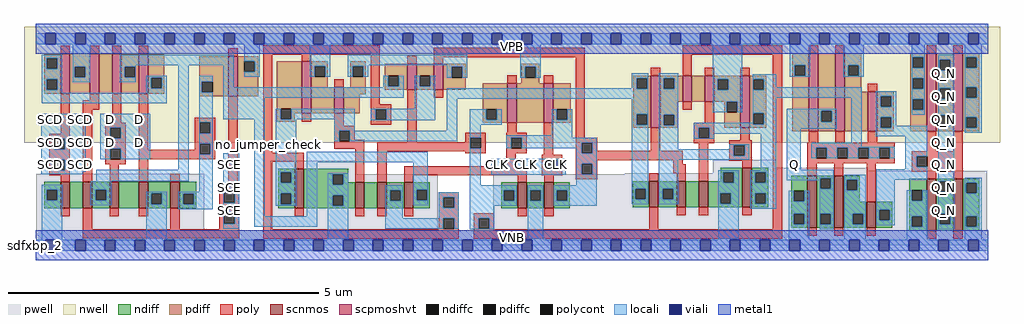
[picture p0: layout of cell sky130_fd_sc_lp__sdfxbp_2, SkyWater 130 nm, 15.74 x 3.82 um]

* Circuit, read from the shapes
.subckt sky130_fd_sc_lp__sdfxbp_2 CLK D SCD SCE VGND VNB VPB VPWR Q Q_N
XM1 n1 SCD VGND VNB sky130_fd_pr__nfet_01v8 w=0.42 l=0.15
XM2 n2 SCE n1 VNB sky130_fd_pr__nfet_01v8 w=0.42 l=0.15
XM3 n3 D n2 VNB sky130_fd_pr__nfet_01v8 w=0.42 l=0.15
XM4 VGND n4 n3 VNB sky130_fd_pr__nfet_01v8 w=0.42 l=0.15
XM5 n4 SCE VGND VNB sky130_fd_pr__nfet_01v8 w=0.42 l=0.15
XM6 VGND n5 n6 VNB sky130_fd_pr__nfet_01v8 w=0.64 l=0.15
XM7 n7 n6 VGND VNB sky130_fd_pr__nfet_01v8 w=0.42 l=0.15
XM8 n5 n8 n7 VNB sky130_fd_pr__nfet_01v8 w=0.42 l=0.15
XM9 n2 n9 n5 VNB sky130_fd_pr__nfet_01v8 w=0.42 l=0.15
XM10 VGND n9 n8 VNB sky130_fd_pr__nfet_01v8 w=0.42 l=0.15
XM11 n9 CLK VGND VNB sky130_fd_pr__nfet_01v8 w=0.42 l=0.15
XM12 n10 n8 n6 VNB sky130_fd_pr__nfet_01v8 w=0.42 l=0.15
XM13 n11 n9 n10 VNB sky130_fd_pr__nfet_01v8 w=0.42 l=0.15
XM14 VGND n12 n11 VNB sky130_fd_pr__nfet_01v8 w=0.42 l=0.15
XM15 n12 n10 VGND VNB sky130_fd_pr__nfet_01v8 w=0.64 l=0.15
XM16 Q n12 VGND VNB sky130_fd_pr__nfet_01v8 w=0.84 l=0.15 m=2
XM17 n13 n12 VGND VNB sky130_fd_pr__nfet_01v8 w=0.42 l=0.15
XM18 Q_N n13 VGND VNB sky130_fd_pr__nfet_01v8 w=0.84 l=0.15 m=2
XM19 VPWR SCD n14 VPB sky130_fd_pr__pfet_01v8_hvt w=0.64 l=0.15
XM20 n15 SCE VPWR VPB sky130_fd_pr__pfet_01v8_hvt w=0.64 l=0.15
XM21 n2 D n15 VPB sky130_fd_pr__pfet_01v8_hvt w=0.64 l=0.15
XM22 n14 n4 n2 VPB sky130_fd_pr__pfet_01v8_hvt w=0.64 l=0.15
XM23 VPWR SCE n4 VPB sky130_fd_pr__pfet_01v8_hvt w=0.64 l=0.15
XM24 VPWR n5 n6 VPB sky130_fd_pr__pfet_01v8_hvt w=0.84 l=0.15
XM25 n16 n6 VPWR VPB sky130_fd_pr__pfet_01v8_hvt w=0.42 l=0.15
XM26 n5 n8 n2 VPB sky130_fd_pr__pfet_01v8_hvt w=0.42 l=0.15
XM27 n16 n9 n5 VPB sky130_fd_pr__pfet_01v8_hvt w=0.42 l=0.15
XM28 VPWR n9 n8 VPB sky130_fd_pr__pfet_01v8_hvt w=0.64 l=0.15
XM29 n9 CLK VPWR VPB sky130_fd_pr__pfet_01v8_hvt w=0.64 l=0.15
XM30 n10 n9 n6 VPB sky130_fd_pr__pfet_01v8_hvt w=0.84 l=0.15
XM31 n17 n8 n10 VPB sky130_fd_pr__pfet_01v8_hvt w=0.42 l=0.15
XM32 VPWR n12 n17 VPB sky130_fd_pr__pfet_01v8_hvt w=0.42 l=0.15
XM33 n12 n10 VPWR VPB sky130_fd_pr__pfet_01v8_hvt w=0.84 l=0.15
XM34 Q n12 VPWR VPB sky130_fd_pr__pfet_01v8_hvt w=1.26 l=0.15 m=2
XM35 n13 n12 VPWR VPB sky130_fd_pr__pfet_01v8_hvt w=0.64 l=0.15
XM36 Q_N n13 VPWR VPB sky130_fd_pr__pfet_01v8_hvt w=1.26 l=0.15 m=2
.ends

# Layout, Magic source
magic
tech sky130A
magscale 1 2
<< nwell >>
rect -38 331 3110 704
<< pwell >>
rect 1 49 543 230
rect 756 229 1034 273
rect 2184 250 2388 276
rect 2184 241 2684 250
rect 2184 232 3069 241
rect 1899 229 3069 232
rect 756 49 1297 229
rect 1475 49 3069 229
rect 0 0 3072 49
<< scnmos >>
rect 80 120 110 204
rect 152 120 182 204
rect 238 120 268 204
rect 332 120 362 204
rect 434 120 464 204
rect 835 119 865 247
rect 1030 119 1060 203
rect 1102 119 1132 203
rect 1188 119 1218 203
rect 1554 119 1584 203
rect 1640 119 1670 203
rect 1978 122 2008 206
rect 2067 122 2097 206
rect 2139 122 2169 206
rect 2279 122 2309 250
rect 2489 56 2519 224
rect 2575 56 2605 224
rect 2680 56 2710 140
rect 2874 47 2904 215
rect 2960 47 2990 215
<< scpmoshvt >>
rect 80 489 110 617
rect 174 489 204 617
rect 246 489 276 617
rect 332 489 362 617
rect 621 481 651 609
rect 858 425 888 593
rect 963 425 993 509
rect 1198 501 1228 585
rect 1284 501 1314 585
rect 1521 395 1551 523
rect 1639 395 1669 523
rect 1984 379 2014 547
rect 2086 463 2116 547
rect 2158 463 2188 547
rect 2273 379 2303 547
rect 2493 367 2523 619
rect 2579 367 2609 619
rect 2684 367 2714 495
rect 2874 367 2904 619
rect 2960 367 2990 619
<< ndiff >>
rect 27 179 80 204
rect 27 145 35 179
rect 69 145 80 179
rect 27 120 80 145
rect 110 120 152 204
rect 182 179 238 204
rect 182 145 193 179
rect 227 145 238 179
rect 182 120 238 145
rect 268 120 332 204
rect 362 167 434 204
rect 362 133 373 167
rect 407 133 434 167
rect 362 120 434 133
rect 464 166 517 204
rect 464 132 475 166
rect 509 132 517 166
rect 464 120 517 132
rect 782 235 835 247
rect 782 201 790 235
rect 824 201 835 235
rect 782 167 835 201
rect 782 133 790 167
rect 824 133 835 167
rect 782 119 835 133
rect 865 229 1008 247
rect 865 195 958 229
rect 992 203 1008 229
rect 2210 236 2279 250
rect 2210 206 2218 236
rect 992 195 1030 203
rect 865 161 1030 195
rect 865 127 958 161
rect 992 127 1030 161
rect 865 119 1030 127
rect 1060 119 1102 203
rect 1132 177 1188 203
rect 1132 143 1143 177
rect 1177 143 1188 177
rect 1132 119 1188 143
rect 1218 179 1271 203
rect 1218 145 1229 179
rect 1263 145 1271 179
rect 1501 178 1554 203
rect 1218 119 1271 145
rect 1501 144 1509 178
rect 1543 144 1554 178
rect 1501 119 1554 144
rect 1584 178 1640 203
rect 1584 144 1595 178
rect 1629 144 1640 178
rect 1584 119 1640 144
rect 1670 178 1723 203
rect 1670 144 1681 178
rect 1715 144 1723 178
rect 1670 119 1723 144
rect 1925 182 1978 206
rect 1925 148 1933 182
rect 1967 148 1978 182
rect 1925 122 1978 148
rect 2008 182 2067 206
rect 2008 148 2022 182
rect 2056 148 2067 182
rect 2008 122 2067 148
rect 2097 122 2139 206
rect 2169 202 2218 206
rect 2252 202 2279 236
rect 2169 168 2279 202
rect 2169 134 2207 168
rect 2241 134 2279 168
rect 2169 122 2279 134
rect 2309 236 2362 250
rect 2309 202 2320 236
rect 2354 202 2362 236
rect 2309 168 2362 202
rect 2309 134 2320 168
rect 2354 134 2362 168
rect 2309 122 2362 134
rect 2436 176 2489 224
rect 2436 142 2444 176
rect 2478 142 2489 176
rect 2436 102 2489 142
rect 2436 68 2444 102
rect 2478 68 2489 102
rect 2436 56 2489 68
rect 2519 216 2575 224
rect 2519 182 2530 216
rect 2564 182 2575 216
rect 2519 102 2575 182
rect 2519 68 2530 102
rect 2564 68 2575 102
rect 2519 56 2575 68
rect 2605 212 2658 224
rect 2605 178 2616 212
rect 2650 178 2658 212
rect 2605 140 2658 178
rect 2817 177 2874 215
rect 2817 143 2825 177
rect 2859 143 2874 177
rect 2605 102 2680 140
rect 2605 68 2635 102
rect 2669 68 2680 102
rect 2605 56 2680 68
rect 2710 115 2763 140
rect 2710 81 2721 115
rect 2755 81 2763 115
rect 2710 56 2763 81
rect 2817 93 2874 143
rect 2817 59 2825 93
rect 2859 59 2874 93
rect 2817 47 2874 59
rect 2904 207 2960 215
rect 2904 173 2915 207
rect 2949 173 2960 207
rect 2904 101 2960 173
rect 2904 67 2915 101
rect 2949 67 2960 101
rect 2904 47 2960 67
rect 2990 202 3043 215
rect 2990 168 3001 202
rect 3035 168 3043 202
rect 2990 93 3043 168
rect 2990 59 3001 93
rect 3035 59 3043 93
rect 2990 47 3043 59
<< pdiff >>
rect 27 603 80 617
rect 27 569 35 603
rect 69 569 80 603
rect 27 535 80 569
rect 27 501 35 535
rect 69 501 80 535
rect 27 489 80 501
rect 110 576 174 617
rect 110 542 125 576
rect 159 542 174 576
rect 110 489 174 542
rect 204 489 246 617
rect 276 576 332 617
rect 276 542 287 576
rect 321 542 332 576
rect 276 489 332 542
rect 362 540 415 617
rect 362 506 373 540
rect 407 506 415 540
rect 362 489 415 506
rect 528 527 621 609
rect 528 493 536 527
rect 570 493 621 527
rect 528 481 621 493
rect 651 593 718 609
rect 651 559 672 593
rect 706 559 718 593
rect 651 481 718 559
rect 778 441 858 593
rect 778 407 790 441
rect 824 425 858 441
rect 888 577 941 593
rect 888 543 899 577
rect 933 543 941 577
rect 888 509 941 543
rect 1015 577 1065 593
rect 1015 543 1023 577
rect 1057 543 1065 577
rect 1015 509 1065 543
rect 888 425 963 509
rect 993 487 1065 509
rect 993 425 1045 487
rect 1125 547 1198 585
rect 1125 513 1137 547
rect 1171 513 1198 547
rect 1125 501 1198 513
rect 1228 547 1284 585
rect 1228 513 1239 547
rect 1273 513 1284 547
rect 1228 501 1284 513
rect 1314 575 1387 585
rect 1314 541 1341 575
rect 1375 541 1387 575
rect 1566 575 1624 585
rect 1314 501 1387 541
rect 1566 541 1578 575
rect 1612 541 1624 575
rect 1566 523 1624 541
rect 824 407 836 425
rect 778 399 836 407
rect 1441 439 1521 523
rect 1441 405 1453 439
rect 1487 405 1521 439
rect 1441 395 1521 405
rect 1551 395 1639 523
rect 1669 439 1726 523
rect 1669 405 1680 439
rect 1714 405 1726 439
rect 1669 395 1726 405
rect 1927 539 1984 547
rect 1927 505 1939 539
rect 1973 505 1984 539
rect 1927 423 1984 505
rect 1927 389 1939 423
rect 1973 389 1984 423
rect 1927 379 1984 389
rect 2014 539 2086 547
rect 2014 505 2025 539
rect 2059 505 2086 539
rect 2014 463 2086 505
rect 2116 463 2158 547
rect 2188 535 2273 547
rect 2188 501 2199 535
rect 2233 501 2273 535
rect 2188 463 2273 501
rect 2014 421 2071 463
rect 2014 387 2025 421
rect 2059 387 2071 421
rect 2014 379 2071 387
rect 2220 429 2228 463
rect 2262 429 2273 463
rect 2220 379 2273 429
rect 2303 535 2356 547
rect 2303 501 2314 535
rect 2348 501 2356 535
rect 2303 425 2356 501
rect 2303 391 2314 425
rect 2348 391 2356 425
rect 2303 379 2356 391
rect 2440 581 2493 619
rect 2440 547 2448 581
rect 2482 547 2493 581
rect 2440 367 2493 547
rect 2523 433 2579 619
rect 2523 399 2534 433
rect 2568 399 2579 433
rect 2523 367 2579 399
rect 2609 581 2662 619
rect 2609 547 2620 581
rect 2654 547 2662 581
rect 2609 495 2662 547
rect 2821 607 2874 619
rect 2821 573 2829 607
rect 2863 573 2874 607
rect 2821 539 2874 573
rect 2821 505 2829 539
rect 2863 505 2874 539
rect 2609 367 2684 495
rect 2714 481 2767 495
rect 2714 447 2725 481
rect 2759 447 2767 481
rect 2714 413 2767 447
rect 2714 379 2725 413
rect 2759 379 2767 413
rect 2714 367 2767 379
rect 2821 471 2874 505
rect 2821 437 2829 471
rect 2863 437 2874 471
rect 2821 367 2874 437
rect 2904 599 2960 619
rect 2904 565 2915 599
rect 2949 565 2960 599
rect 2904 507 2960 565
rect 2904 473 2915 507
rect 2949 473 2960 507
rect 2904 420 2960 473
rect 2904 386 2915 420
rect 2949 386 2960 420
rect 2904 367 2960 386
rect 2990 607 3043 619
rect 2990 573 3001 607
rect 3035 573 3043 607
rect 2990 510 3043 573
rect 2990 476 3001 510
rect 3035 476 3043 510
rect 2990 413 3043 476
rect 2990 379 3001 413
rect 3035 379 3043 413
rect 2990 367 3043 379
<< ndiffc >>
rect 35 145 69 179
rect 193 145 227 179
rect 373 133 407 167
rect 475 132 509 166
rect 790 201 824 235
rect 790 133 824 167
rect 958 195 992 229
rect 958 127 992 161
rect 1143 143 1177 177
rect 1229 145 1263 179
rect 1509 144 1543 178
rect 1595 144 1629 178
rect 1681 144 1715 178
rect 1933 148 1967 182
rect 2022 148 2056 182
rect 2218 202 2252 236
rect 2207 134 2241 168
rect 2320 202 2354 236
rect 2320 134 2354 168
rect 2444 142 2478 176
rect 2444 68 2478 102
rect 2530 182 2564 216
rect 2530 68 2564 102
rect 2616 178 2650 212
rect 2825 143 2859 177
rect 2635 68 2669 102
rect 2721 81 2755 115
rect 2825 59 2859 93
rect 2915 173 2949 207
rect 2915 67 2949 101
rect 3001 168 3035 202
rect 3001 59 3035 93
<< pdiffc >>
rect 35 569 69 603
rect 35 501 69 535
rect 125 542 159 576
rect 287 542 321 576
rect 373 506 407 540
rect 536 493 570 527
rect 672 559 706 593
rect 790 407 824 441
rect 899 543 933 577
rect 1023 543 1057 577
rect 1137 513 1171 547
rect 1239 513 1273 547
rect 1341 541 1375 575
rect 1578 541 1612 575
rect 1453 405 1487 439
rect 1680 405 1714 439
rect 1939 505 1973 539
rect 1939 389 1973 423
rect 2025 505 2059 539
rect 2199 501 2233 535
rect 2025 387 2059 421
rect 2228 429 2262 463
rect 2314 501 2348 535
rect 2314 391 2348 425
rect 2448 547 2482 581
rect 2534 399 2568 433
rect 2620 547 2654 581
rect 2829 573 2863 607
rect 2829 505 2863 539
rect 2725 447 2759 481
rect 2725 379 2759 413
rect 2829 437 2863 471
rect 2915 565 2949 599
rect 2915 473 2949 507
rect 2915 386 2949 420
rect 3001 573 3035 607
rect 3001 476 3035 510
rect 3001 379 3035 413
<< poly >>
rect 80 617 110 643
rect 174 617 204 643
rect 246 617 276 643
rect 332 617 362 643
rect 621 609 651 635
rect 733 615 1110 645
rect 80 360 110 489
rect 174 467 204 489
rect 44 344 110 360
rect 44 310 60 344
rect 94 310 110 344
rect 44 276 110 310
rect 44 242 60 276
rect 94 242 110 276
rect 44 226 110 242
rect 80 204 110 226
rect 152 437 204 467
rect 152 204 182 437
rect 246 395 276 489
rect 224 379 290 395
rect 224 345 240 379
rect 274 345 290 379
rect 224 311 290 345
rect 224 277 240 311
rect 274 277 290 311
rect 224 261 290 277
rect 332 308 362 489
rect 513 396 579 412
rect 513 362 529 396
rect 563 362 579 396
rect 513 328 579 362
rect 513 308 529 328
rect 332 294 529 308
rect 563 294 579 328
rect 332 278 579 294
rect 238 204 268 261
rect 332 204 362 278
rect 434 204 464 230
rect 621 187 651 481
rect 733 299 763 615
rect 858 593 888 615
rect 963 509 993 535
rect 1080 455 1110 615
rect 1198 585 1228 611
rect 1284 607 1771 637
rect 1284 585 1314 607
rect 1521 523 1551 549
rect 1639 523 1669 549
rect 1080 439 1146 455
rect 858 399 888 425
rect 963 385 993 425
rect 1080 405 1096 439
rect 1130 405 1146 439
rect 1080 389 1146 405
rect 963 369 1029 385
rect 963 335 979 369
rect 1013 341 1029 369
rect 1013 335 1060 341
rect 963 311 1060 335
rect 1198 333 1228 501
rect 1284 475 1314 501
rect 1521 363 1551 395
rect 1385 347 1451 363
rect 1385 333 1401 347
rect 733 269 865 299
rect 591 171 657 187
rect 591 137 607 171
rect 641 137 657 171
rect 80 94 110 120
rect 152 52 182 120
rect 238 94 268 120
rect 332 94 362 120
rect 434 52 464 120
rect 591 103 657 137
rect 591 69 607 103
rect 641 69 657 103
rect 591 52 657 69
rect 152 22 657 52
rect 733 51 763 269
rect 835 247 865 269
rect 1030 203 1060 311
rect 1102 313 1401 333
rect 1435 313 1451 347
rect 1102 303 1451 313
rect 1102 203 1132 303
rect 1385 297 1451 303
rect 1518 347 1584 363
rect 1518 313 1534 347
rect 1568 313 1584 347
rect 1518 297 1584 313
rect 1518 255 1548 297
rect 1639 292 1669 395
rect 1741 347 1771 607
rect 2086 615 2407 645
rect 2493 619 2523 645
rect 2579 619 2609 645
rect 2874 619 2904 645
rect 2960 619 2990 645
rect 1984 547 2014 573
rect 2086 547 2116 615
rect 2158 547 2188 573
rect 2273 547 2303 573
rect 2086 437 2116 463
rect 2158 395 2188 463
rect 2122 379 2188 395
rect 1741 331 1811 347
rect 1741 297 1761 331
rect 1795 304 1811 331
rect 1984 304 2014 379
rect 2122 345 2138 379
rect 2172 345 2188 379
rect 2122 329 2188 345
rect 2273 339 2303 379
rect 1795 297 2086 304
rect 1632 276 1698 292
rect 1188 225 1584 255
rect 1632 242 1648 276
rect 1682 242 1698 276
rect 1632 226 1698 242
rect 1741 274 2086 297
rect 1741 263 1811 274
rect 1741 229 1761 263
rect 1795 229 1811 263
rect 2056 262 2086 274
rect 2056 232 2097 262
rect 1188 203 1218 225
rect 1554 203 1584 225
rect 1640 203 1670 226
rect 1741 213 1811 229
rect 1978 206 2008 232
rect 2067 206 2097 232
rect 2139 206 2169 329
rect 2236 323 2309 339
rect 2236 289 2252 323
rect 2286 289 2309 323
rect 2236 273 2309 289
rect 2279 250 2309 273
rect 1299 155 1365 171
rect 1299 121 1315 155
rect 1349 121 1365 155
rect 835 93 865 119
rect 1030 93 1060 119
rect 1102 93 1132 119
rect 1188 93 1218 119
rect 1299 87 1365 121
rect 1299 53 1315 87
rect 1349 53 1365 87
rect 1299 51 1365 53
rect 733 21 1365 51
rect 1413 87 1479 103
rect 1554 93 1584 119
rect 1640 93 1670 119
rect 1413 53 1429 87
rect 1463 53 1479 87
rect 1413 51 1479 53
rect 1978 51 2008 122
rect 2067 96 2097 122
rect 2139 96 2169 122
rect 2279 96 2309 122
rect 2377 51 2407 615
rect 2684 495 2714 521
rect 2493 331 2523 367
rect 2579 331 2609 367
rect 2684 331 2714 367
rect 2489 315 2771 331
rect 2489 281 2517 315
rect 2551 281 2585 315
rect 2619 281 2653 315
rect 2687 281 2721 315
rect 2755 281 2771 315
rect 2874 303 2904 367
rect 2960 303 2990 367
rect 2489 265 2771 281
rect 2825 287 2990 303
rect 2489 224 2519 265
rect 2575 224 2605 265
rect 2680 140 2710 265
rect 2825 253 2841 287
rect 2875 253 2990 287
rect 2825 237 2990 253
rect 2874 215 2904 237
rect 2960 215 2990 237
rect 1413 21 2407 51
rect 2489 30 2519 56
rect 2575 30 2605 56
rect 2680 30 2710 56
rect 2874 21 2904 47
rect 2960 21 2990 47
<< polycont >>
rect 60 310 94 344
rect 60 242 94 276
rect 240 345 274 379
rect 240 277 274 311
rect 529 362 563 396
rect 529 294 563 328
rect 1096 405 1130 439
rect 979 335 1013 369
rect 607 137 641 171
rect 607 69 641 103
rect 1401 313 1435 347
rect 1534 313 1568 347
rect 1761 297 1795 331
rect 2138 345 2172 379
rect 1648 242 1682 276
rect 1761 229 1795 263
rect 2252 289 2286 323
rect 1315 121 1349 155
rect 1315 53 1349 87
rect 1429 53 1463 87
rect 2517 281 2551 315
rect 2585 281 2619 315
rect 2653 281 2687 315
rect 2721 281 2755 315
rect 2841 253 2875 287
<< locali >>
rect 0 649 31 683
rect 65 649 127 683
rect 161 649 223 683
rect 257 649 319 683
rect 353 649 415 683
rect 449 649 511 683
rect 545 649 607 683
rect 641 649 703 683
rect 737 649 799 683
rect 833 649 895 683
rect 929 649 991 683
rect 1025 649 1087 683
rect 1121 649 1183 683
rect 1217 649 1279 683
rect 1313 649 1375 683
rect 1409 649 1471 683
rect 1505 649 1567 683
rect 1601 649 1663 683
rect 1697 649 1759 683
rect 1793 649 1855 683
rect 1889 649 1951 683
rect 1985 649 2047 683
rect 2081 649 2143 683
rect 2177 649 2239 683
rect 2273 649 2335 683
rect 2369 649 2431 683
rect 2465 649 2527 683
rect 2561 649 2623 683
rect 2657 649 2719 683
rect 2753 649 2815 683
rect 2849 649 2911 683
rect 2945 649 3007 683
rect 3041 649 3072 683
rect 19 603 85 615
rect 19 569 35 603
rect 69 569 85 603
rect 19 535 85 569
rect 19 501 35 535
rect 69 501 85 535
rect 119 576 175 649
rect 119 542 125 576
rect 159 542 175 576
rect 119 526 175 542
rect 271 581 638 615
rect 271 576 323 581
rect 271 542 287 576
rect 321 542 323 576
rect 271 526 323 542
rect 357 540 423 547
rect 19 492 85 501
rect 357 506 373 540
rect 407 506 423 540
rect 357 492 423 506
rect 19 458 423 492
rect 17 344 161 424
rect 17 310 60 344
rect 94 310 161 344
rect 17 276 161 310
rect 208 379 370 424
rect 208 345 240 379
rect 274 345 370 379
rect 208 311 370 345
rect 208 277 240 311
rect 274 277 370 311
rect 17 242 60 276
rect 94 242 161 276
rect 459 243 493 581
rect 17 237 161 242
rect 17 229 151 237
rect 195 206 493 243
rect 527 527 570 547
rect 527 493 536 527
rect 527 396 570 493
rect 604 509 638 581
rect 672 593 722 649
rect 706 559 722 593
rect 672 543 722 559
rect 883 577 949 649
rect 883 543 899 577
rect 933 543 949 577
rect 1007 581 1391 615
rect 1007 577 1073 581
rect 1007 543 1023 577
rect 1057 543 1073 577
rect 1325 575 1391 581
rect 1121 513 1137 547
rect 1171 513 1187 547
rect 1121 509 1187 513
rect 604 475 1187 509
rect 1223 513 1239 547
rect 1273 513 1289 547
rect 1325 541 1341 575
rect 1375 541 1391 575
rect 1562 575 1628 649
rect 1562 541 1578 575
rect 1612 541 1628 575
rect 604 407 738 475
rect 1223 441 1289 513
rect 1923 539 1975 555
rect 1923 507 1939 539
rect 527 362 529 396
rect 563 362 570 396
rect 527 328 570 362
rect 527 294 529 328
rect 563 294 570 328
rect 19 179 85 195
rect 19 145 35 179
rect 69 145 85 179
rect 19 17 85 145
rect 177 179 243 206
rect 177 145 193 179
rect 227 145 243 179
rect 527 172 570 294
rect 177 129 243 145
rect 357 167 423 172
rect 357 133 373 167
rect 407 133 423 167
rect 357 17 423 133
rect 459 166 570 172
rect 459 132 475 166
rect 509 132 570 166
rect 459 116 570 132
rect 604 171 657 297
rect 604 137 607 171
rect 641 137 657 171
rect 604 103 657 137
rect 604 69 607 103
rect 641 69 657 103
rect 604 53 657 69
rect 704 93 738 407
rect 774 407 790 441
rect 824 407 1029 441
rect 774 235 840 407
rect 963 369 1029 407
rect 1080 439 1289 441
rect 1080 405 1096 439
rect 1130 405 1289 439
rect 1080 403 1289 405
rect 1325 505 1939 507
rect 1973 505 1975 539
rect 1325 473 1975 505
rect 1325 369 1359 473
rect 963 335 979 369
rect 1013 335 1359 369
rect 1399 405 1453 439
rect 1487 405 1503 439
rect 1399 388 1503 405
rect 1664 405 1680 439
rect 1714 405 1730 439
rect 1399 347 1435 388
rect 1664 354 1730 405
rect 1399 313 1401 347
rect 1518 347 1730 354
rect 1923 423 1975 473
rect 1923 389 1939 423
rect 1973 389 1975 423
rect 1518 313 1534 347
rect 1568 331 1810 347
rect 1568 313 1761 331
rect 774 201 790 235
rect 824 201 840 235
rect 774 167 840 201
rect 774 133 790 167
rect 824 133 840 167
rect 774 127 840 133
rect 874 267 1265 301
rect 874 93 908 267
rect 704 59 908 93
rect 942 229 1008 233
rect 942 195 958 229
rect 992 195 1008 229
rect 942 161 1008 195
rect 942 127 958 161
rect 992 127 1008 161
rect 942 17 1008 127
rect 1127 177 1184 193
rect 1127 143 1143 177
rect 1177 143 1184 177
rect 1127 87 1184 143
rect 1218 179 1265 267
rect 1218 145 1229 179
rect 1263 145 1265 179
rect 1399 194 1435 313
rect 1744 297 1761 313
rect 1795 297 1810 331
rect 1469 276 1710 279
rect 1469 242 1648 276
rect 1682 242 1710 276
rect 1469 228 1710 242
rect 1744 263 1810 297
rect 1744 229 1761 263
rect 1795 229 1810 263
rect 1744 194 1810 229
rect 1399 178 1552 194
rect 1218 129 1265 145
rect 1299 155 1365 171
rect 1299 121 1315 155
rect 1349 121 1365 155
rect 1299 87 1365 121
rect 1127 53 1315 87
rect 1349 53 1365 87
rect 1399 144 1509 178
rect 1543 144 1552 178
rect 1399 128 1552 144
rect 1586 178 1636 194
rect 1586 144 1595 178
rect 1629 144 1636 178
rect 1399 87 1479 128
rect 1399 53 1429 87
rect 1463 53 1479 87
rect 1399 51 1479 53
rect 1586 17 1636 144
rect 1670 178 1810 194
rect 1670 144 1681 178
rect 1715 144 1810 178
rect 1670 128 1810 144
rect 1923 182 1975 389
rect 1923 148 1933 182
rect 1967 148 1975 182
rect 1923 132 1975 148
rect 2009 539 2072 555
rect 2009 505 2025 539
rect 2059 505 2072 539
rect 2009 421 2072 505
rect 2183 535 2278 649
rect 2432 581 2498 649
rect 2183 501 2199 535
rect 2233 501 2278 535
rect 2183 463 2278 501
rect 2183 429 2228 463
rect 2262 429 2278 463
rect 2312 535 2388 551
rect 2432 547 2448 581
rect 2482 547 2498 581
rect 2432 543 2498 547
rect 2604 581 2670 649
rect 2604 547 2620 581
rect 2654 547 2670 581
rect 2604 543 2670 547
rect 2825 607 2867 649
rect 2825 573 2829 607
rect 2863 573 2867 607
rect 2312 501 2314 535
rect 2348 509 2388 535
rect 2825 539 2867 573
rect 2348 501 2664 509
rect 2312 475 2664 501
rect 2825 505 2829 539
rect 2863 505 2867 539
rect 2009 387 2025 421
rect 2059 387 2072 421
rect 2312 425 2388 475
rect 2312 395 2314 425
rect 2009 310 2072 387
rect 2122 391 2314 395
rect 2348 391 2388 425
rect 2122 379 2388 391
rect 2122 345 2138 379
rect 2172 359 2388 379
rect 2172 345 2188 359
rect 2122 344 2188 345
rect 2236 323 2302 325
rect 2236 310 2252 323
rect 2009 289 2252 310
rect 2286 289 2302 323
rect 2009 276 2302 289
rect 2009 182 2072 276
rect 2338 242 2388 359
rect 2009 148 2022 182
rect 2056 148 2072 182
rect 2009 132 2072 148
rect 2202 236 2268 242
rect 2202 202 2218 236
rect 2252 202 2268 236
rect 2202 168 2268 202
rect 2202 134 2207 168
rect 2241 134 2268 168
rect 2202 17 2268 134
rect 2304 236 2388 242
rect 2304 202 2320 236
rect 2354 202 2388 236
rect 2422 433 2584 441
rect 2422 399 2534 433
rect 2568 399 2584 433
rect 2422 375 2584 399
rect 2422 244 2467 375
rect 2630 331 2664 475
rect 2709 481 2775 497
rect 2709 447 2725 481
rect 2759 447 2775 481
rect 2709 413 2775 447
rect 2825 471 2867 505
rect 2825 437 2829 471
rect 2863 437 2867 471
rect 2825 421 2867 437
rect 2911 599 2963 615
rect 2911 565 2915 599
rect 2949 565 2963 599
rect 2911 507 2963 565
rect 2911 473 2915 507
rect 2949 473 2963 507
rect 2709 379 2725 413
rect 2759 385 2775 413
rect 2911 420 2963 473
rect 2911 386 2915 420
rect 2949 386 2963 420
rect 2759 379 2875 385
rect 2709 351 2875 379
rect 2501 317 2664 331
rect 2501 315 2771 317
rect 2501 281 2517 315
rect 2551 281 2585 315
rect 2619 281 2653 315
rect 2687 281 2721 315
rect 2755 281 2771 315
rect 2805 287 2875 351
rect 2805 253 2841 287
rect 2805 245 2875 253
rect 2422 216 2574 244
rect 2422 210 2530 216
rect 2304 168 2388 202
rect 2528 182 2530 210
rect 2564 182 2574 216
rect 2304 134 2320 168
rect 2354 134 2388 168
rect 2304 118 2388 134
rect 2428 142 2444 176
rect 2478 142 2494 176
rect 2428 102 2494 142
rect 2428 68 2444 102
rect 2478 68 2494 102
rect 2428 17 2494 68
rect 2528 102 2574 182
rect 2528 68 2530 102
rect 2564 68 2574 102
rect 2528 52 2574 68
rect 2608 212 2677 228
rect 2608 178 2616 212
rect 2650 178 2677 212
rect 2608 102 2677 178
rect 2608 68 2635 102
rect 2669 68 2677 102
rect 2608 17 2677 68
rect 2711 211 2875 245
rect 2711 115 2771 211
rect 2911 207 2963 386
rect 2997 607 3051 649
rect 2997 573 3001 607
rect 3035 573 3051 607
rect 2997 510 3051 573
rect 2997 476 3001 510
rect 3035 476 3051 510
rect 2997 413 3051 476
rect 2997 379 3001 413
rect 3035 379 3051 413
rect 2997 363 3051 379
rect 2711 81 2721 115
rect 2755 81 2771 115
rect 2711 65 2771 81
rect 2809 143 2825 177
rect 2859 143 2875 177
rect 2809 93 2875 143
rect 2809 59 2825 93
rect 2859 59 2875 93
rect 2809 17 2875 59
rect 2911 173 2915 207
rect 2949 173 2963 207
rect 2911 101 2963 173
rect 2911 67 2915 101
rect 2949 67 2963 101
rect 2911 51 2963 67
rect 2997 202 3051 218
rect 2997 168 3001 202
rect 3035 168 3051 202
rect 2997 93 3051 168
rect 2997 59 3001 93
rect 3035 59 3051 93
rect 2997 17 3051 59
rect 0 -17 31 17
rect 65 -17 127 17
rect 161 -17 223 17
rect 257 -17 319 17
rect 353 -17 415 17
rect 449 -17 511 17
rect 545 -17 607 17
rect 641 -17 703 17
rect 737 -17 799 17
rect 833 -17 895 17
rect 929 -17 991 17
rect 1025 -17 1087 17
rect 1121 -17 1183 17
rect 1217 -17 1279 17
rect 1313 -17 1375 17
rect 1409 -17 1471 17
rect 1505 -17 1567 17
rect 1601 -17 1663 17
rect 1697 -17 1759 17
rect 1793 -17 1855 17
rect 1889 -17 1951 17
rect 1985 -17 2047 17
rect 2081 -17 2143 17
rect 2177 -17 2239 17
rect 2273 -17 2335 17
rect 2369 -17 2431 17
rect 2465 -17 2527 17
rect 2561 -17 2623 17
rect 2657 -17 2719 17
rect 2753 -17 2815 17
rect 2849 -17 2911 17
rect 2945 -17 3007 17
rect 3041 -17 3072 17
<< viali >>
rect 31 649 65 683
rect 127 649 161 683
rect 223 649 257 683
rect 319 649 353 683
rect 415 649 449 683
rect 511 649 545 683
rect 607 649 641 683
rect 703 649 737 683
rect 799 649 833 683
rect 895 649 929 683
rect 991 649 1025 683
rect 1087 649 1121 683
rect 1183 649 1217 683
rect 1279 649 1313 683
rect 1375 649 1409 683
rect 1471 649 1505 683
rect 1567 649 1601 683
rect 1663 649 1697 683
rect 1759 649 1793 683
rect 1855 649 1889 683
rect 1951 649 1985 683
rect 2047 649 2081 683
rect 2143 649 2177 683
rect 2239 649 2273 683
rect 2335 649 2369 683
rect 2431 649 2465 683
rect 2527 649 2561 683
rect 2623 649 2657 683
rect 2719 649 2753 683
rect 2815 649 2849 683
rect 2911 649 2945 683
rect 3007 649 3041 683
rect 31 -17 65 17
rect 127 -17 161 17
rect 223 -17 257 17
rect 319 -17 353 17
rect 415 -17 449 17
rect 511 -17 545 17
rect 607 -17 641 17
rect 703 -17 737 17
rect 799 -17 833 17
rect 895 -17 929 17
rect 991 -17 1025 17
rect 1087 -17 1121 17
rect 1183 -17 1217 17
rect 1279 -17 1313 17
rect 1375 -17 1409 17
rect 1471 -17 1505 17
rect 1567 -17 1601 17
rect 1663 -17 1697 17
rect 1759 -17 1793 17
rect 1855 -17 1889 17
rect 1951 -17 1985 17
rect 2047 -17 2081 17
rect 2143 -17 2177 17
rect 2239 -17 2273 17
rect 2335 -17 2369 17
rect 2431 -17 2465 17
rect 2527 -17 2561 17
rect 2623 -17 2657 17
rect 2719 -17 2753 17
rect 2815 -17 2849 17
rect 2911 -17 2945 17
rect 3007 -17 3041 17
<< metal1 >>
rect 0 683 3072 715
rect 0 649 31 683
rect 65 649 127 683
rect 161 649 223 683
rect 257 649 319 683
rect 353 649 415 683
rect 449 649 511 683
rect 545 649 607 683
rect 641 649 703 683
rect 737 649 799 683
rect 833 649 895 683
rect 929 649 991 683
rect 1025 649 1087 683
rect 1121 649 1183 683
rect 1217 649 1279 683
rect 1313 649 1375 683
rect 1409 649 1471 683
rect 1505 649 1567 683
rect 1601 649 1663 683
rect 1697 649 1759 683
rect 1793 649 1855 683
rect 1889 649 1951 683
rect 1985 649 2047 683
rect 2081 649 2143 683
rect 2177 649 2239 683
rect 2273 649 2335 683
rect 2369 649 2431 683
rect 2465 649 2527 683
rect 2561 649 2623 683
rect 2657 649 2719 683
rect 2753 649 2815 683
rect 2849 649 2911 683
rect 2945 649 3007 683
rect 3041 649 3072 683
rect 0 617 3072 649
rect 0 17 3072 49
rect 0 -17 31 17
rect 65 -17 127 17
rect 161 -17 223 17
rect 257 -17 319 17
rect 353 -17 415 17
rect 449 -17 511 17
rect 545 -17 607 17
rect 641 -17 703 17
rect 737 -17 799 17
rect 833 -17 895 17
rect 929 -17 991 17
rect 1025 -17 1087 17
rect 1121 -17 1183 17
rect 1217 -17 1279 17
rect 1313 -17 1375 17
rect 1409 -17 1471 17
rect 1505 -17 1567 17
rect 1601 -17 1663 17
rect 1697 -17 1759 17
rect 1793 -17 1855 17
rect 1889 -17 1951 17
rect 1985 -17 2047 17
rect 2081 -17 2143 17
rect 2177 -17 2239 17
rect 2273 -17 2335 17
rect 2369 -17 2431 17
rect 2465 -17 2527 17
rect 2561 -17 2623 17
rect 2657 -17 2719 17
rect 2753 -17 2815 17
rect 2849 -17 2911 17
rect 2945 -17 3007 17
rect 3041 -17 3072 17
rect 0 -49 3072 -17
<< labels >>
flabel pwell s 0 0 3072 49 0 FreeSans 200 0 0 0 VNB
port 6 nsew ground bidirectional
flabel nwell s 0 617 3072 666 0 FreeSans 200 0 0 0 VPB
port 7 nsew power bidirectional
rlabel comment s 0 0 0 0 4 sdfxbp_2
flabel comment s 751 325 751 325 0 FreeSans 200 90 0 0 no_jumper_check
flabel metal1 s 0 617 3072 666 0 FreeSans 340 0 0 0 VPWR
port 8 nsew power bidirectional
flabel metal1 s 0 0 3072 49 0 FreeSans 340 0 0 0 VGND
port 5 nsew ground bidirectional
flabel locali s 1471 242 1505 276 0 FreeSans 340 0 0 0 CLK
port 1 nsew clock input
flabel locali s 1567 242 1601 276 0 FreeSans 340 0 0 0 CLK
port 1 nsew clock input
flabel locali s 1663 242 1697 276 0 FreeSans 340 0 0 0 CLK
port 1 nsew clock input
flabel locali s 607 94 641 128 0 FreeSans 340 0 0 0 SCE
port 4 nsew signal input
flabel locali s 607 168 641 202 0 FreeSans 340 0 0 0 SCE
port 4 nsew signal input
flabel locali s 607 242 641 276 0 FreeSans 340 0 0 0 SCE
port 4 nsew signal input
flabel locali s 31 242 65 276 0 FreeSans 340 0 0 0 SCD
port 3 nsew signal input
flabel locali s 31 316 65 350 0 FreeSans 340 0 0 0 SCD
port 3 nsew signal input
flabel locali s 31 390 65 424 0 FreeSans 340 0 0 0 SCD
port 3 nsew signal input
flabel locali s 127 242 161 276 0 FreeSans 340 0 0 0 SCD
port 3 nsew signal input
flabel locali s 127 316 161 350 0 FreeSans 340 0 0 0 SCD
port 3 nsew signal input
flabel locali s 127 390 161 424 0 FreeSans 340 0 0 0 SCD
port 3 nsew signal input
flabel locali s 223 316 257 350 0 FreeSans 340 0 0 0 D
port 2 nsew signal input
flabel locali s 223 390 257 424 0 FreeSans 340 0 0 0 D
port 2 nsew signal input
flabel locali s 2911 94 2945 128 0 FreeSans 340 0 0 0 Q_N
port 10 nsew signal output
flabel locali s 2911 168 2945 202 0 FreeSans 340 0 0 0 Q_N
port 10 nsew signal output
flabel locali s 2911 242 2945 276 0 FreeSans 340 0 0 0 Q_N
port 10 nsew signal output
flabel locali s 2911 316 2945 350 0 FreeSans 340 0 0 0 Q_N
port 10 nsew signal output
flabel locali s 2911 390 2945 424 0 FreeSans 340 0 0 0 Q_N
port 10 nsew signal output
flabel locali s 2911 464 2945 498 0 FreeSans 340 0 0 0 Q_N
port 10 nsew signal output
flabel locali s 2911 538 2945 572 0 FreeSans 340 0 0 0 Q_N
port 10 nsew signal output
flabel locali s 2431 242 2465 276 0 FreeSans 340 0 0 0 Q
port 9 nsew signal output
flabel locali s 319 316 353 350 0 FreeSans 340 0 0 0 D
port 2 nsew signal input
flabel locali s 319 390 353 424 0 FreeSans 340 0 0 0 D
port 2 nsew signal input
<< properties >>
string LEFsite unit
string LEFclass CORE
string FIXED_BBOX 0 0 3072 666
string GDS_FILE $PDKPATH/libs.ref/sky130_fd_sc_lp/gds/sky130_fd_sc_lp.gds
string LEFsymmetry X Y R90
string GDS_END 6063138
string GDS_START 6041654
<< end >>
